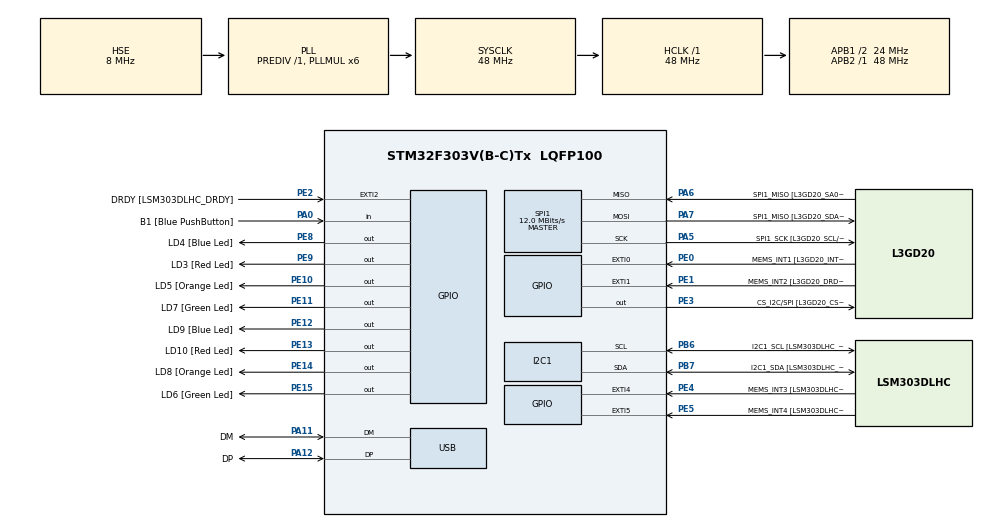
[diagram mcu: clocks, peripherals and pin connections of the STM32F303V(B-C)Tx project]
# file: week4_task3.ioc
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I2C1.Timing=0x2000090E
I2C1.Timing-I2C=0x2000090E
Mcu.Family=STM32F3
Mcu.Name=STM32F303V(B-C)Tx
Mcu.Package=LQFP100
NVIC.PriorityGroup=NVIC_PRIORITYGROUP_0
NVIC.TIM2_IRQn=true\:0\:0\:false\:false\:true\:true\:true\:true
PA0.GPIO_Label=B1 [Blue PushButton]
PA0.Signal=GPIO_Input
PA11.GPIO_Label=DM
PA11.Mode=Device
PA11.Signal=USB_DM
PA12.GPIO_Label=DP
PA12.Mode=Device
PA12.Signal=USB_DP
PA13.GPIO_Label=SWDIO
PA13.Mode=Serial_Wire
PA13.Signal=SYS_JTMS-SWDIO
PA14.GPIO_Label=SWCLK
PA14.Mode=Serial_Wire
PA14.Signal=SYS_JTCK-SWCLK
PA5.GPIO_Label=SPI1_SCK [L3GD20_SCL/SPC]
PA5.Mode=Full_Duplex_Master
PA5.Signal=SPI1_SCK
PA6.GPIO_Label=SPI1_MISO [L3GD20_SA0/SDO]
PA6.Mode=Full_Duplex_Master
PA6.Signal=SPI1_MISO
PA7.GPIO_Label=SPI1_MISO [L3GD20_SDA/SDI/SDO]
PA7.Mode=Full_Duplex_Master
PA7.Signal=SPI1_MOSI
PB3.GPIO_Label=SWO
PB3.Signal=SYS_JTDO-TRACESWO
PB6.GPIO_Label=I2C1_SCL [LSM303DLHC_SCL]
PB6.GPIO_Pu=GPIO_PULLUP
PB6.Mode=I2C
PB6.Signal=I2C1_SCL
PB7.GPIO_Label=I2C1_SDA [LSM303DLHC_SDA]
PB7.GPIO_Pu=GPIO_PULLUP
PB7.Mode=I2C
PB7.Signal=I2C1_SDA
PC14-OSC32_IN.GPIO_Label=OSC32_IN
PC14-OSC32_IN.Signal=RCC_OSC32_IN
PC15-OSC32_OUT.GPIO_Label=OSC32_OUT
PC15-OSC32_OUT.Signal=RCC_OSC32_OUT
PE0.GPIO_Label=MEMS_INT1 [L3GD20_INT1]
PE0.GPIO_ModeDefaultEXTI=GPIO_MODE_EVT_RISING
PE0.Signal=GPXTI0
PE1.GPIO_Label=MEMS_INT2 [L3GD20_DRDY/INT2]
PE1.GPIO_ModeDefaultEXTI=GPIO_MODE_EVT_RISING
PE1.Signal=GPXTI1
PE10.GPIO_Label=LD5 [Orange Led]
PE10.Signal=GPIO_Output
PE11.GPIO_Label=LD7 [Green Led]
PE11.Signal=GPIO_Output
PE12.GPIO_Label=LD9 [Blue Led]
PE12.Signal=GPIO_Output
PE13.GPIO_Label=LD10 [Red Led]
PE13.Signal=GPIO_Output
PE14.GPIO_Label=LD8 [Orange Led]
PE14.Signal=GPIO_Output
PE15.GPIO_Label=LD6 [Green Led]
PE15.Signal=GPIO_Output
PE2.GPIO_Label=DRDY [LSM303DLHC_DRDY]
PE2.GPIO_ModeDefaultEXTI=GPIO_MODE_EVT_RISING
PE2.Signal=GPXTI2
PE3.GPIO_Label=CS_I2C/SPI [L3GD20_CS_I2C/SPI]
PE3.Signal=GPIO_Output
PE4.GPIO_Label=MEMS_INT3 [LSM303DLHC_INT1]
PE4.GPIO_ModeDefaultEXTI=GPIO_MODE_EVT_RISING
PE4.Signal=GPXTI4
PE5.GPIO_Label=MEMS_INT4 [LSM303DLHC_INT2]
PE5.GPIO_ModeDefaultEXTI=GPIO_MODE_EVT_RISING
PE5.Signal=GPXTI5
PE8.GPIO_Label=LD4 [Blue Led]
PE8.Signal=GPIO_Output
PE9.GPIO_Label=LD3 [Red Led]
PE9.Signal=GPIO_Output
PF0-OSC_IN.GPIO_Label=OSC_IN
PF0-OSC_IN.Mode=HSE-External-Clock-Source
PF0-OSC_IN.Signal=RCC_OSC_IN
PF1-OSC_OUT.GPIO_Label=OSC_OUT
PF1-OSC_OUT.Signal=RCC_OSC_OUT
ProjectManager.HeapSize=0x200
ProjectManager.StackSize=0x400
ProjectManager.TargetToolchain=CMake
RCC.AHBFreq_Value=48000000
RCC.APB1CLKDivider=RCC_HCLK_DIV2
RCC.APB1Freq_Value=24000000
RCC.APB1TimFreq_Value=48000000
RCC.APB2Freq_Value=48000000
RCC.APB2TimFreq_Value=48000000
RCC.CortexFreq_Value=48000000
RCC.HCLKFreq_Value=48000000
RCC.HSE_VALUE=8000000
RCC.HSI_VALUE=8000000
RCC.LSE_VALUE=32768
RCC.PLLMUL=RCC_PLL_MUL6
RCC.SYSCLKFreq_VALUE=48000000
RCC.SYSCLKSourceVirtual=RCC_SYSCLKSOURCE_PLLCLK
RCC.USBFreq_Value=48000000
SPI1.BaudRatePrescaler=SPI_BAUDRATEPRESCALER_4
SPI1.BaudRatePrescaler-Full_Duplex_Master=SPI_BAUDRATEPRESCALER_2
SPI1.CalculateBaudRate=12.0 MBits/s
SPI1.CalculateBaudRate-Full_Duplex_Master=24.0 MBits/s
SPI1.Direction=SPI_DIRECTION_2LINES
SPI1.Mode=SPI_MODE_MASTER
SPI1.Mode-Full_Duplex_Master=SPI_MODE_MASTER
SPI1.VirtualType=VM_MASTER
TIM2.AutoReloadPreload=TIM_AUTORELOAD_PRELOAD_ENABLE
TIM2.Period=0
TIM2.Prescaler=47999
VP_TIM2_VS_ClockSourceINT.Mode=Internal
board=STM32F3DISCOVERY

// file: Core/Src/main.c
/* USER CODE BEGIN Header */
/**
  ******************************************************************************
  * @file           : main.c
  * @brief          : Main program body
  ******************************************************************************
  * @attention
  *
  * Copyright (c) 2025 STMicroelectronics.
  * All rights reserved.
  *
  * This software is licensed under terms that can be found in the LICENSE file
  * in the root directory of this software component.
  * If no LICENSE file comes with this software, it is provided AS-IS.
  *
  ******************************************************************************
  */
/* USER CODE END Header */
#include "main.h"

I2C_HandleTypeDef hi2c1;

SPI_HandleTypeDef hspi1;

TIM_HandleTypeDef htim2;

PCD_HandleTypeDef hpcd_USB_FS;

void SystemClock_Config(void);
static void MX_GPIO_Init(void);
static void MX_I2C1_Init(void);
static void MX_SPI1_Init(void);
static void MX_TIM2_Init(void);
static void MX_USB_PCD_Init(void);

/* USER CODE BEGIN 0 */
uint32_t count_500ms = 0;
uint32_t count_1s = 0;
uint32_t count_2s = 0;
/* USER CODE END 0 */

int main(void)
{

  /* MCU Configuration--------------------------------------------------------*/

  /* Reset of all peripherals, Initializes the Flash interface and the Systick. */
  HAL_Init();

  /* Configure the system clock */
  SystemClock_Config();

  /* Initialize all configured peripherals */
  MX_GPIO_Init();
  MX_I2C1_Init();
  MX_SPI1_Init();
  MX_TIM2_Init();
  MX_USB_PCD_Init();
  /* USER CODE BEGIN 2 */
HAL_TIM_Base_Start_IT(&htim2);
  /* USER CODE END 2 */

  /* Infinite loop */
  while (1)
  {

  }
}

void SystemClock_Config(void)
{
  RCC_OscInitTypeDef RCC_OscInitStruct = {0};
  RCC_ClkInitTypeDef RCC_ClkInitStruct = {0};
  RCC_PeriphCLKInitTypeDef PeriphClkInit = {0};

  /** Initializes the RCC Oscillators according to the specified parameters
  * in the RCC_OscInitTypeDef structure.
  */
  RCC_OscInitStruct.OscillatorType = RCC_OSCILLATORTYPE_HSI|RCC_OSCILLATORTYPE_HSE;
  RCC_OscInitStruct.HSEState = RCC_HSE_BYPASS;
  RCC_OscInitStruct.HSEPredivValue = RCC_HSE_PREDIV_DIV1;
  RCC_OscInitStruct.HSIState = RCC_HSI_ON;
  RCC_OscInitStruct.HSICalibrationValue = RCC_HSICALIBRATION_DEFAULT;
  RCC_OscInitStruct.PLL.PLLState = RCC_PLL_ON;
  RCC_OscInitStruct.PLL.PLLSource = RCC_PLLSOURCE_HSE;
  RCC_OscInitStruct.PLL.PLLMUL = RCC_PLL_MUL6;
  if (HAL_RCC_OscConfig(&RCC_OscInitStruct) != HAL_OK)
  {
    Error_Handler();
  }

  /** Initializes the CPU, AHB and APB buses clocks
  */
  RCC_ClkInitStruct.ClockType = RCC_CLOCKTYPE_HCLK|RCC_CLOCKTYPE_SYSCLK
                              |RCC_CLOCKTYPE_PCLK1|RCC_CLOCKTYPE_PCLK2;
  RCC_ClkInitStruct.SYSCLKSource = RCC_SYSCLKSOURCE_PLLCLK;
  RCC_ClkInitStruct.AHBCLKDivider = RCC_SYSCLK_DIV1;
  RCC_ClkInitStruct.APB1CLKDivider = RCC_HCLK_DIV2;
  RCC_ClkInitStruct.APB2CLKDivider = RCC_HCLK_DIV1;

  if (HAL_RCC_ClockConfig(&RCC_ClkInitStruct, FLASH_LATENCY_1) != HAL_OK)
  {
    Error_Handler();
  }
  PeriphClkInit.PeriphClockSelection = RCC_PERIPHCLK_USB|RCC_PERIPHCLK_I2C1;
  PeriphClkInit.I2c1ClockSelection = RCC_I2C1CLKSOURCE_HSI;
  PeriphClkInit.USBClockSelection = RCC_USBCLKSOURCE_PLL;
  if (HAL_RCCEx_PeriphCLKConfig(&PeriphClkInit) != HAL_OK)
  {
    Error_Handler();
  }
}

static void MX_I2C1_Init(void)
{

  hi2c1.Instance = I2C1;
  hi2c1.Init.Timing = 0x2000090E;
  hi2c1.Init.OwnAddress1 = 0;
  hi2c1.Init.AddressingMode = I2C_ADDRESSINGMODE_7BIT;
  hi2c1.Init.DualAddressMode = I2C_DUALADDRESS_DISABLE;
  hi2c1.Init.OwnAddress2 = 0;
  hi2c1.Init.OwnAddress2Masks = I2C_OA2_NOMASK;
  hi2c1.Init.GeneralCallMode = I2C_GENERALCALL_DISABLE;
  hi2c1.Init.NoStretchMode = I2C_NOSTRETCH_DISABLE;
  if (HAL_I2C_Init(&hi2c1) != HAL_OK)
  {
    Error_Handler();
  }

  /** Configure Analogue filter
  */
  if (HAL_I2CEx_ConfigAnalogFilter(&hi2c1, I2C_ANALOGFILTER_ENABLE) != HAL_OK)
  {
    Error_Handler();
  }

  /** Configure Digital filter
  */
  if (HAL_I2CEx_ConfigDigitalFilter(&hi2c1, 0) != HAL_OK)
  {
    Error_Handler();
  }

}

static void MX_SPI1_Init(void)
{

  /* SPI1 parameter configuration*/
  hspi1.Instance = SPI1;
  hspi1.Init.Mode = SPI_MODE_MASTER;
  hspi1.Init.Direction = SPI_DIRECTION_2LINES;
  hspi1.Init.DataSize = SPI_DATASIZE_4BIT;
  hspi1.Init.CLKPolarity = SPI_POLARITY_LOW;
  hspi1.Init.CLKPhase = SPI_PHASE_1EDGE;
  hspi1.Init.NSS = SPI_NSS_SOFT;
  hspi1.Init.BaudRatePrescaler = SPI_BAUDRATEPRESCALER_4;
  hspi1.Init.FirstBit = SPI_FIRSTBIT_MSB;
  hspi1.Init.TIMode = SPI_TIMODE_DISABLE;
  hspi1.Init.CRCCalculation = SPI_CRCCALCULATION_DISABLE;
  hspi1.Init.CRCPolynomial = 7;
  hspi1.Init.CRCLength = SPI_CRC_LENGTH_DATASIZE;
  hspi1.Init.NSSPMode = SPI_NSS_PULSE_ENABLE;
  if (HAL_SPI_Init(&hspi1) != HAL_OK)
  {
    Error_Handler();
  }

}

static void MX_TIM2_Init(void)
{

  TIM_ClockConfigTypeDef sClockSourceConfig = {0};
  TIM_MasterConfigTypeDef sMasterConfig = {0};

  htim2.Instance = TIM2;
  htim2.Init.Prescaler = 47;
  htim2.Init.CounterMode = TIM_COUNTERMODE_UP;
  htim2.Init.Period = 1000;
  htim2.Init.ClockDivision = TIM_CLOCKDIVISION_DIV1;
  htim2.Init.AutoReloadPreload = TIM_AUTORELOAD_PRELOAD_ENABLE;
  if (HAL_TIM_Base_Init(&htim2) != HAL_OK)
  {
    Error_Handler();
  }
  sClockSourceConfig.ClockSource = TIM_CLOCKSOURCE_INTERNAL;
  if (HAL_TIM_ConfigClockSource(&htim2, &sClockSourceConfig) != HAL_OK)
  {
    Error_Handler();
  }
  sMasterConfig.MasterOutputTrigger = TIM_TRGO_RESET;
  sMasterConfig.MasterSlaveMode = TIM_MASTERSLAVEMODE_DISABLE;
  if (HAL_TIMEx_MasterConfigSynchronization(&htim2, &sMasterConfig) != HAL_OK)
  {
    Error_Handler();
  }

}

static void MX_USB_PCD_Init(void)
{

  hpcd_USB_FS.Instance = USB;
  hpcd_USB_FS.Init.dev_endpoints = 8;
  hpcd_USB_FS.Init.speed = PCD_SPEED_FULL;
  hpcd_USB_FS.Init.phy_itface = PCD_PHY_EMBEDDED;
  hpcd_USB_FS.Init.low_power_enable = DISABLE;
  hpcd_USB_FS.Init.battery_charging_enable = DISABLE;
  if (HAL_PCD_Init(&hpcd_USB_FS) != HAL_OK)
  {
    Error_Handler();
  }

}

static void MX_GPIO_Init(void)
{
  GPIO_InitTypeDef GPIO_InitStruct = {0};

  /* GPIO Ports Clock Enable */
  __HAL_RCC_GPIOE_CLK_ENABLE();
  __HAL_RCC_GPIOC_CLK_ENABLE();
  __HAL_RCC_GPIOF_CLK_ENABLE();
  __HAL_RCC_GPIOA_CLK_ENABLE();
  __HAL_RCC_GPIOB_CLK_ENABLE();

  /*Configure GPIO pin Output Level */
  HAL_GPIO_WritePin(GPIOE, CS_I2C_SPI_Pin|LD4_Pin|LD3_Pin|LD5_Pin
                          |LD7_Pin|LD9_Pin|LD10_Pin|LD8_Pin
                          |LD6_Pin, GPIO_PIN_RESET);

  /*Configure GPIO pins : DRDY_Pin MEMS_INT3_Pin MEMS_INT4_Pin MEMS_INT1_Pin
                           MEMS_INT2_Pin */
  GPIO_InitStruct.Pin = DRDY_Pin|MEMS_INT3_Pin|MEMS_INT4_Pin|MEMS_INT1_Pin
                          |MEMS_INT2_Pin;
  GPIO_InitStruct.Mode = GPIO_MODE_EVT_RISING;
  GPIO_InitStruct.Pull = GPIO_NOPULL;
  HAL_GPIO_Init(GPIOE, &GPIO_InitStruct);

  /*Configure GPIO pins : CS_I2C_SPI_Pin LD4_Pin LD3_Pin LD5_Pin
                           LD7_Pin LD9_Pin LD10_Pin LD8_Pin
                           LD6_Pin */
  GPIO_InitStruct.Pin = CS_I2C_SPI_Pin|LD4_Pin|LD3_Pin|LD5_Pin
                          |LD7_Pin|LD9_Pin|LD10_Pin|LD8_Pin
                          |LD6_Pin;
  GPIO_InitStruct.Mode = GPIO_MODE_OUTPUT_PP;
  GPIO_InitStruct.Pull = GPIO_NOPULL;
  GPIO_InitStruct.Speed = GPIO_SPEED_FREQ_LOW;
  HAL_GPIO_Init(GPIOE, &GPIO_InitStruct);

  /*Configure GPIO pin : B1_Pin */
  GPIO_InitStruct.Pin = B1_Pin;
  GPIO_InitStruct.Mode = GPIO_MODE_INPUT;
  GPIO_InitStruct.Pull = GPIO_NOPULL;
  HAL_GPIO_Init(B1_GPIO_Port, &GPIO_InitStruct);

}

/* USER CODE BEGIN 4 */

void HAL_TIM_PeriodElapsedCallback(TIM_HandleTypeDef *htim)
{
    if (htim->Instance == TIM2)
    {
        count_500ms++;
        count_1s++;
        count_2s++;

        if (count_500ms >= 500)
        {
            HAL_GPIO_TogglePin(LD10_GPIO_Port, LD10_Pin); //0.5s blink
            count_500ms = 0;
        }

        if (count_1s >= 1000)
        {
            HAL_GPIO_TogglePin(LD9_GPIO_Port, LD9_Pin); //1s blink
            count_1s = 0;
        }

        if (count_2s >= 2000)
        {
            HAL_GPIO_TogglePin(LD8_GPIO_Port, LD8_Pin); //2s blink
            count_2s = 0;
        }
    }
}
/* USER CODE END 4 */

void Error_Handler(void)
{
  __disable_irq();
  while (1)
  {
  }
}
